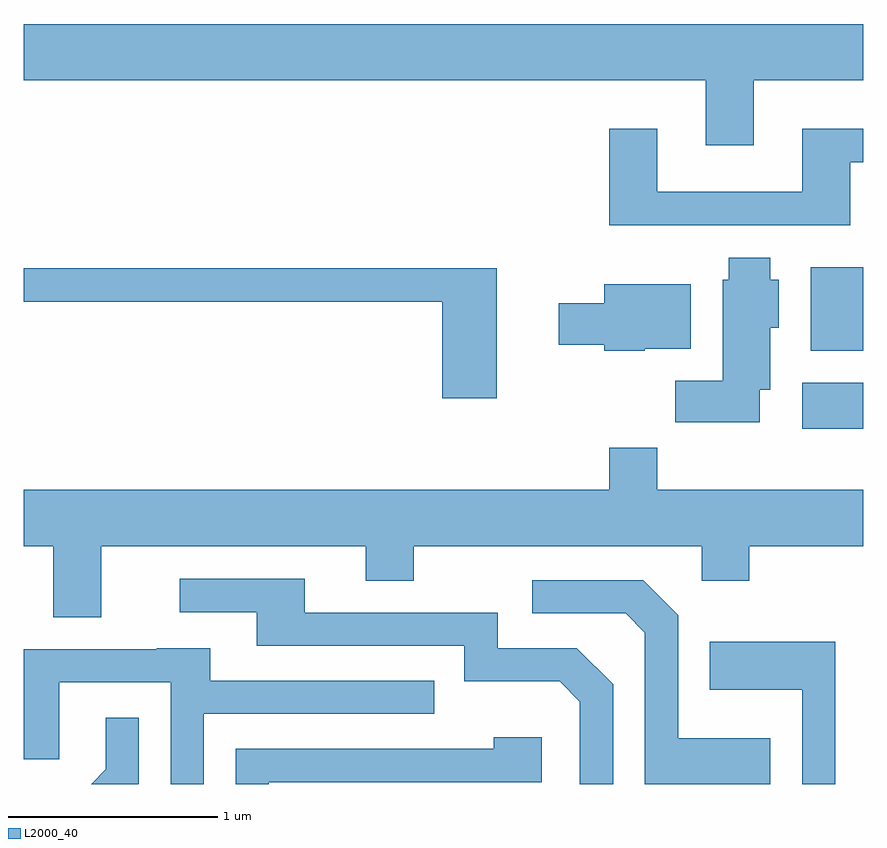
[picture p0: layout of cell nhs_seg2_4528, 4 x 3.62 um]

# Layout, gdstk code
import gdstk
lib = gdstk.Library(unit=1e-6, precision=1e-09)
def R(c, l, rs):  # rectangles x0, y0, x1, y1
    for r in rs: c.add(gdstk.rectangle(r[:2], r[2:], *l))
def P(c, l, *ps):  # polygons
    for p in ps: c.add(gdstk.Polygon(p, *l))
L2000_40 = (2000, 40)

nhs_seg2_4528 = lib.new_cell('nhs_seg2_4528')
R(nhs_seg2_4528, L2000_40, [(321.321,1095.496,321.611,1095.714), (321.361,1095.866,321.611,1096.264)])
P(nhs_seg2_4528, L2000_40, [(321.089,1097.156),(321.611,1097.156),(321.611,1097.424),(317.611,1097.424),(317.611,1097.156),(320.861,1097.156),(320.861,1096.846),(321.089,1096.846)],
  [(321.549,1096.766),(321.611,1096.766),(321.611,1096.924),(321.321,1096.924),(321.321,1096.624),(320.629,1096.624),(320.629,1096.924),(320.401,1096.924),(320.401,1096.466),(321.549,1096.466)],
  [(321.119,1095.681),(321.169,1095.681),(321.169,1095.976),(321.209,1095.976),(321.209,1096.204),(321.169,1096.204),(321.169,1096.309),(320.971,1096.309),(320.971,1096.204),(320.941,1096.204),(320.941,1095.724),(320.716,1095.724),(320.716,1095.526),(321.119,1095.526)],
  [(319.864,1096.259),(317.611,1096.259),(317.611,1096.101),(319.606,1096.101),(319.606,1095.641),(319.864,1095.641)],
  [(320.57,1095.876),(320.789,1095.876),(320.789,1096.184),(320.376,1096.184),(320.376,1096.094),(320.161,1096.094),(320.161,1095.896),(320.376,1095.896),(320.376,1095.866),(320.57,1095.866)],
  [(317.979,1094.936),(319.241,1094.936),(319.241,1094.771),(319.469,1094.771),(319.469,1094.936),(320.841,1094.936),(320.841,1094.771),(321.069,1094.771),(321.069,1094.936),(321.611,1094.936),(321.611,1095.204),(320.629,1095.204),(320.629,1095.404),(320.401,1095.404),(320.401,1095.204),(317.611,1095.204),(317.611,1094.936),(317.751,1094.936),(317.751,1094.596),(317.979,1094.596)],
  [(320.419,1094.277),(320.247,1094.449),(319.869,1094.449),(319.869,1094.619),(318.949,1094.619),(318.949,1094.779),(318.353,1094.779),(318.353,1094.621),(318.721,1094.621),(318.721,1094.461),(319.711,1094.461),(319.711,1094.291),(320.164,1094.291),(320.261,1094.194),(320.261,1093.802),(320.419,1093.802)],
  [(321.169,1094.019),(320.729,1094.019),(320.729,1094.607),(320.562,1094.774),(320.033,1094.774),(320.033,1094.616),(320.479,1094.616),(320.571,1094.524),(320.571,1093.802),(321.169,1093.802)],
  [(321.479,1094.479),(320.881,1094.479),(320.881,1094.251),(321.321,1094.251),(321.321,1093.802),(321.479,1093.802)],
  [(318.469,1094.136),(319.568,1094.136),(319.568,1094.294),(318.499,1094.294),(318.499,1094.449),(318.245,1094.449),(318.245,1094.444),(317.611,1094.444),(317.611,1093.921),(317.779,1093.921),(317.779,1094.286),(318.311,1094.286),(318.311,1093.802),(318.469,1093.802)],
  [(318.159,1093.804),(318.159,1094.118),(318.001,1094.118),(318.001,1093.872),(317.932,1093.802),(318.157,1093.802)],
  [(318.779,1093.811),(320.079,1093.811),(320.079,1094.024),(319.851,1094.024),(319.851,1093.969),(318.621,1093.969),(318.621,1093.802),(318.779,1093.802)])

lib.write_gds('nhs_seg2_4528.gds')
